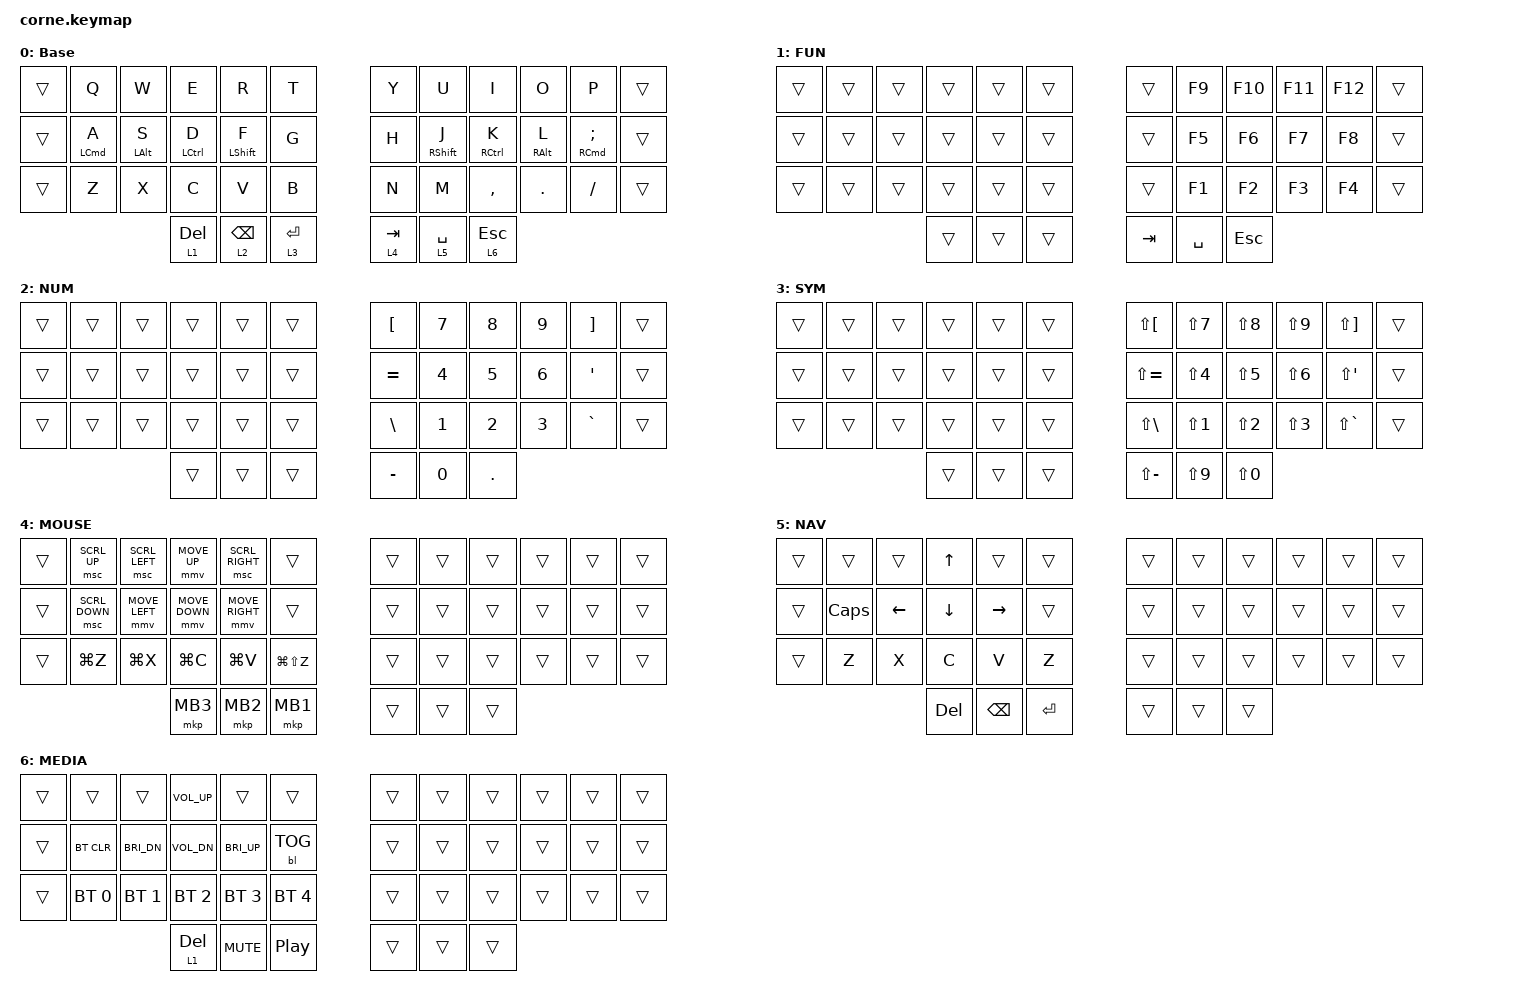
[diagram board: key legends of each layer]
/*
 * SPDX-License-Identifier: MIT
 */

#include <behaviors.dtsi>
#include <dt-bindings/zmk/backlight.h>
#include <dt-bindings/zmk/bt.h>
#include <dt-bindings/zmk/keys.h>
#include <dt-bindings/zmk/pointing.h>

/ {
    behaviors {
        /* Home-row mods: tap letter, hold modifier */

        hm: homerow_mods {
            compatible = "zmk,behavior-hold-tap";
            label = "HM";
            #binding-cells = <2>;
            flavor = "tap-preferred";
            tapping-term-ms = <220>;
            quick-tap-ms = <175>;

            /* Optional but often helpful for HRMs */

            require-prior-idle-ms = <120>;
            bindings = <&kp>, <&kp>;
        };

        /* Thumb layer-taps: tap key, hold layer */

        lt: layer_tap {
            compatible = "zmk,behavior-hold-tap";
            label = "LT";
            #binding-cells = <2>;
            flavor = "tap-preferred";
            tapping-term-ms = <200>;
            quick-tap-ms = <150>;

            /* Thumbs usually benefit from being a bit “hold-friendlier” */

            require-prior-idle-ms = <80>;
            bindings = <&mo>, <&kp>;
        };
    };

    keymap {
        compatible = "zmk,keymap";

        /*
      0 BASE (QWERTY)
      1 NAV  (inverted-T arrows on I/J/K/L area)
      2 SYM  (LEFT)  <-- FLIP
      3 NUM  (RIGHT) <-- FLIP
      4 FUN
    */

        base {
            bindings = <
&trans  &kp Q               &kp W           &kp E               &kp R             &kp T           &kp Y      &kp U              &kp I                &kp O            &kp P                        &trans
&trans  &hm LEFT_COMMAND A  &hm LEFT_ALT S  &hm LEFT_CONTROL D  &hm LEFT_SHIFT F  &kp G           &kp H      &hm RIGHT_SHIFT J  &hm RIGHT_CONTROL K  &hm RIGHT_ALT L  &hm RIGHT_COMMAND SEMICOLON  &trans
&trans  &kp Z               &kp X           &kp C               &kp V             &kp B           &kp N      &kp M              &kp COMMA            &kp DOT          &kp FSLH                     &trans
                                            &lt 1 DEL           &lt 2 BACKSPACE   &lt 3 RETURN    &lt 4 TAB  &lt 5 SPACE        &lt 6 ESC
            >;

            label = "Base";
        };

        FUN {
            bindings = <
&trans  &trans  &trans  &trans  &trans  &trans    &trans   &kp F9     &kp F10  &kp F11  &kp F12  &trans
&trans  &trans  &trans  &trans  &trans  &trans    &trans   &kp F5     &kp F6   &kp F7   &kp F8   &trans
&trans  &trans  &trans  &trans  &trans  &trans    &trans   &kp F1     &kp F2   &kp F3   &kp F4   &trans
                        &trans  &trans  &trans    &kp TAB  &kp SPACE  &kp ESC
            >;
        };

        NUM {
            bindings = <
&trans  &trans  &trans  &trans  &trans  &trans    &kp LBKT   &kp N7  &kp N8   &kp N9  &kp RBKT          &trans
&trans  &trans  &trans  &trans  &trans  &trans    &kp EQUAL  &kp N4  &kp N5   &kp N6  &kp SINGLE_QUOTE  &trans
&trans  &trans  &trans  &trans  &trans  &trans    &kp BSLH   &kp N1  &kp N2   &kp N3  &kp GRAVE         &trans
                        &trans  &trans  &trans    &kp MINUS  &kp N0  &kp DOT
            >;
        };

        SYM {
            bindings = <
&trans  &trans  &trans  &trans  &trans  &trans    &kp LS(LBKT)   &kp LS(N7)  &kp LS(N8)  &kp LS(N9)  &kp LS(RBKT)          &trans
&trans  &trans  &trans  &trans  &trans  &trans    &kp LS(EQUAL)  &kp LS(N4)  &kp LS(N5)  &kp LS(N6)  &kp LS(SINGLE_QUOTE)  &trans
&trans  &trans  &trans  &trans  &trans  &trans    &kp LS(BSLH)   &kp LS(N1)  &kp LS(N2)  &kp LS(N3)  &kp LS(GRAVE)         &trans
                        &trans  &trans  &trans    &kp LS(MINUS)  &kp LS(N9)  &kp LS(N0)
            >;
        };

        MOUSE {
            bindings = <
&trans  &msc SCRL_UP    &msc SCRL_LEFT  &mmv MOVE_UP    &msc SCRL_RIGHT  &trans           &trans  &trans  &trans  &trans  &trans  &trans
&trans  &msc SCRL_DOWN  &mmv MOVE_LEFT  &mmv MOVE_DOWN  &mmv MOVE_RIGHT  &trans           &trans  &trans  &trans  &trans  &trans  &trans
&trans  &kp LG(Z)       &kp LG(X)       &kp LG(C)       &kp LG(V)        &kp LG(LS(Z))    &trans  &trans  &trans  &trans  &trans  &trans
                                        &mkp MB3        &mkp MB2         &mkp MB1         &trans  &trans  &trans
            >;
        };

        NAV {
            bindings = <
&trans  &trans    &trans    &kp UP    &trans     &trans       &trans  &trans  &trans  &trans  &trans  &trans
&trans  &kp CAPS  &kp LEFT  &kp DOWN  &kp RIGHT  &trans       &trans  &trans  &trans  &trans  &trans  &trans
&trans  &kp Z     &kp X     &kp C     &kp V      &kp Z        &trans  &trans  &trans  &trans  &trans  &trans
                            &kp DEL   &kp BSPC   &kp ENTER    &trans  &trans  &trans
            >;
        };

        MEDIA {
            bindings = <
&trans  &trans        &trans        &kp C_VOL_UP  &trans        &trans              &trans  &trans  &trans  &trans  &trans  &trans
&trans  &bt BT_CLR    &kp C_BRI_DN  &kp C_VOL_DN  &kp C_BRI_UP  &bl BL_TOG          &trans  &trans  &trans  &trans  &trans  &trans
&trans  &bt BT_SEL 0  &bt BT_SEL 1  &bt BT_SEL 2  &bt BT_SEL 3  &bt BT_SEL 4        &trans  &trans  &trans  &trans  &trans  &trans
                                    &lt 1 DEL     &kp K_MUTE    &kp C_PLAY_PAUSE    &trans  &trans  &trans
            >;
        };
    };
};
